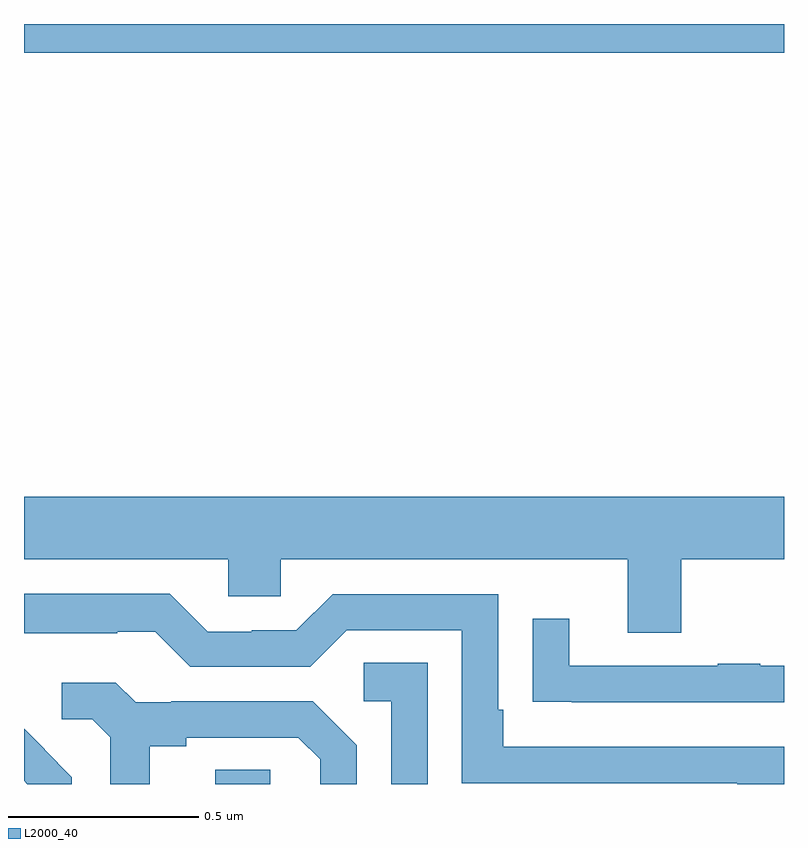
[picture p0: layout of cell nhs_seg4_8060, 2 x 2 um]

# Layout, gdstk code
import gdstk
lib = gdstk.Library(unit=1e-6, precision=1e-09)
def R(c, l, rs):  # rectangles x0, y0, x1, y1
    for r in rs: c.add(gdstk.rectangle(r[:2], r[2:], *l))
def P(c, l, *ps):  # polygons
    for p in ps: c.add(gdstk.Polygon(p, *l))
L2000_40 = (2000, 40)

nhs_seg4_8060 = lib.new_cell('nhs_seg4_8060')
R(nhs_seg4_8060, L2000_40, [(210.503,790.9,210.648,790.937), (210,792.824,212,792.9)])
P(nhs_seg4_8060, L2000_40, [(211.729,791.492),(212,791.492),(212,791.656),(210,791.656),(210,791.492),(210.537,791.492),(210.537,791.394),(210.675,791.394),(210.675,791.492),(211.589,791.492),(211.589,791.298),(211.729,791.298)],
  [(212,790.998),(211.261,790.998),(211.261,791.095),(211.248,791.095),(211.248,791.4),(210.813,791.4),(210.717,791.304),(210.599,791.304),(210.599,791.301),(210.483,791.301),(210.383,791.401),(210,791.401),(210,791.297),(210.245,791.297),(210.245,791.301),(210.345,791.301),(210.438,791.208),(210.753,791.208),(210.849,791.304),(211.152,791.304),(211.152,790.902),(211.877,790.902),(211.877,790.9),(212,790.9)],
  [(212,791.211),(211.937,791.211),(211.937,791.216),(211.825,791.216),(211.825,791.211),(211.435,791.211),(211.435,791.335),(211.339,791.335),(211.339,791.116),(211.441,791.116),(211.441,791.115),(212,791.115)],
  [(211.062,791.219),(210.894,791.219),(210.894,791.118),(210.966,791.118),(210.966,790.9),(211.062,790.9)],
  [(210.331,791),(210.427,791),(210.427,791.022),(210.722,791.022),(210.779,790.965),(210.779,790.9),(210.876,790.9),(210.876,791.002),(210.76,791.118),(210.388,791.118),(210.388,791.115),(210.294,791.115),(210.242,791.167),(210.099,791.167),(210.099,791.07),(210.18,791.07),(210.227,791.023),(210.227,790.9),(210.331,790.9)],
  [(210.126,790.918),(210.053,790.991),(210.054,790.992),(210,791.046),(210,790.909),(210.009,790.9),(210.126,790.9)])

lib.write_gds('nhs_seg4_8060.gds')
